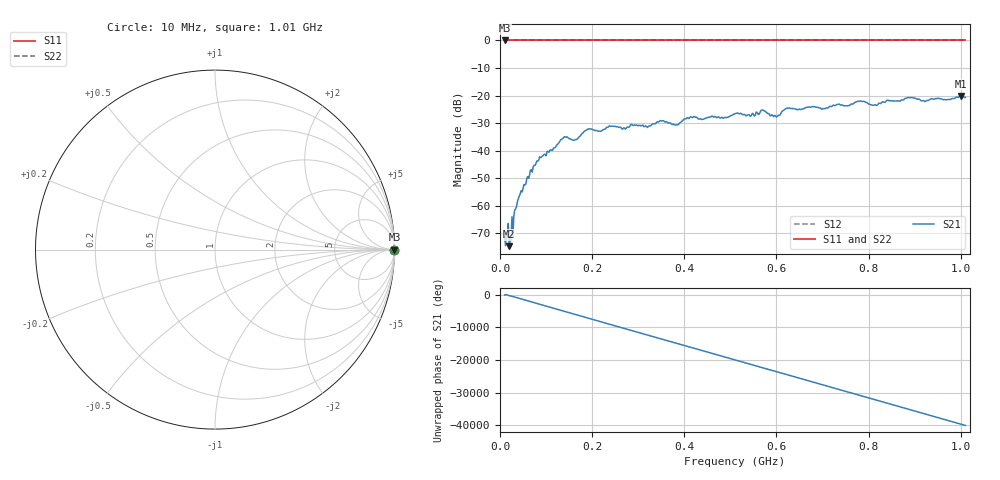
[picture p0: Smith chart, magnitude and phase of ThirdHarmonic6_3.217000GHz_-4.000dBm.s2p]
! 8/17/2025 9:48:37 AM
! C:\ANRITSUVNA\TEMP\TEMP.S2P
! CHANNEL.1
! TR.MEASUREMENT
! RAW.DATA
! RF.CORRECTION.OFF
! AVERAGING.OFF
! IF.BANDWIDTH: 5KHZ
! SWEEPTYPE:  FREQ.SWEEP(Linear)
! Reference Plane Port Info
! PORT:  PORT1  PORT2
! DISTANCE:  0  m  0  m
! TIME:  0  s  0  s
! PHASE.OFFSET:  0  deg.  0  deg.
! LOSS:  0  dB  0  dB
! REF.LOSS:  0  dB  0  dB
! REF.FREQ:  0  Hz  0  Hz
! Power Info
! POWER:  -20  dBm  -20  dBm
! EFF.POWER:  -20  dBm  -20  dBm
! SOURCE.ATTEN:  0  dB  0  dB
! TEST.ATTEN:  0  dB  0  dB
# GHZ S RI R 50.0
! FREQ.GHZ  S11RE  S11IM  S21RE  S21IM  S12RE  S12IM  S22RE  S22IM
!; PortSelection: Port_12
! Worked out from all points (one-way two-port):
!   501 points, 10 MHz to 1.01 GHz, reference 50 ohm
!   highest |S21| = -20.14 dB at 1 GHz (marker M1); lowest = -74.7 dB at 20 MHz (marker M2)
!   lowest |S11| = 0.0 dB at 10 MHz (marker M3)
!   |S11| at or under -10 dB: nowhere
!   |S22| runs from 0.0 to 0.0 dB; largest |S21 - S12| = 1.1
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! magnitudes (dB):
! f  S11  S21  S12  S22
! 10 MHz  0.0  -71.2  0.0  0.0
! 20 MHz  0.0  -74.7  0.0  0.0
! 24 MHz  0.0  -72.5  0.0  0.0
! 34 MHz  0.0  -61.3  0.0  0.0
! 42 MHz  0.0  -56.5  0.0  0.0
! 76 MHz  0.0  -45.4  0.0  0.0
! 136 MHz  0.0  -35.6  0.0  0.0
! 164 MHz  0.0  -36.0  0.0  0.0
! 178 MHz  0.0  -33.8  0.0  0.0
! 194 MHz  0.0  -32.1  0.0  0.0
! 322 MHz  0.0  -31.2  0.0  0.0
! 344 MHz  0.0  -29.6  0.0  0.0
! 382 MHz  0.0  -30.7  0.0  0.0
! 418 MHz  0.0  -28.0  0.0  0.0
! 510 MHz  0.0  -26.6  0.0  0.0
! 570 MHz  0.0  -25.3  0.0  0.0
! 598 MHz  0.0  -27.5  0.0  0.0
! 624 MHz  0.0  -24.5  0.0  0.0
! 678 MHz  0.0  -24.0  0.0  0.0
! 844 MHz  0.0  -21.8  0.0  0.0
! 1 GHz  0.0  -20.1  0.0  0.0
! 1.01 GHz  0.0  -20.7  0.0  0.0
